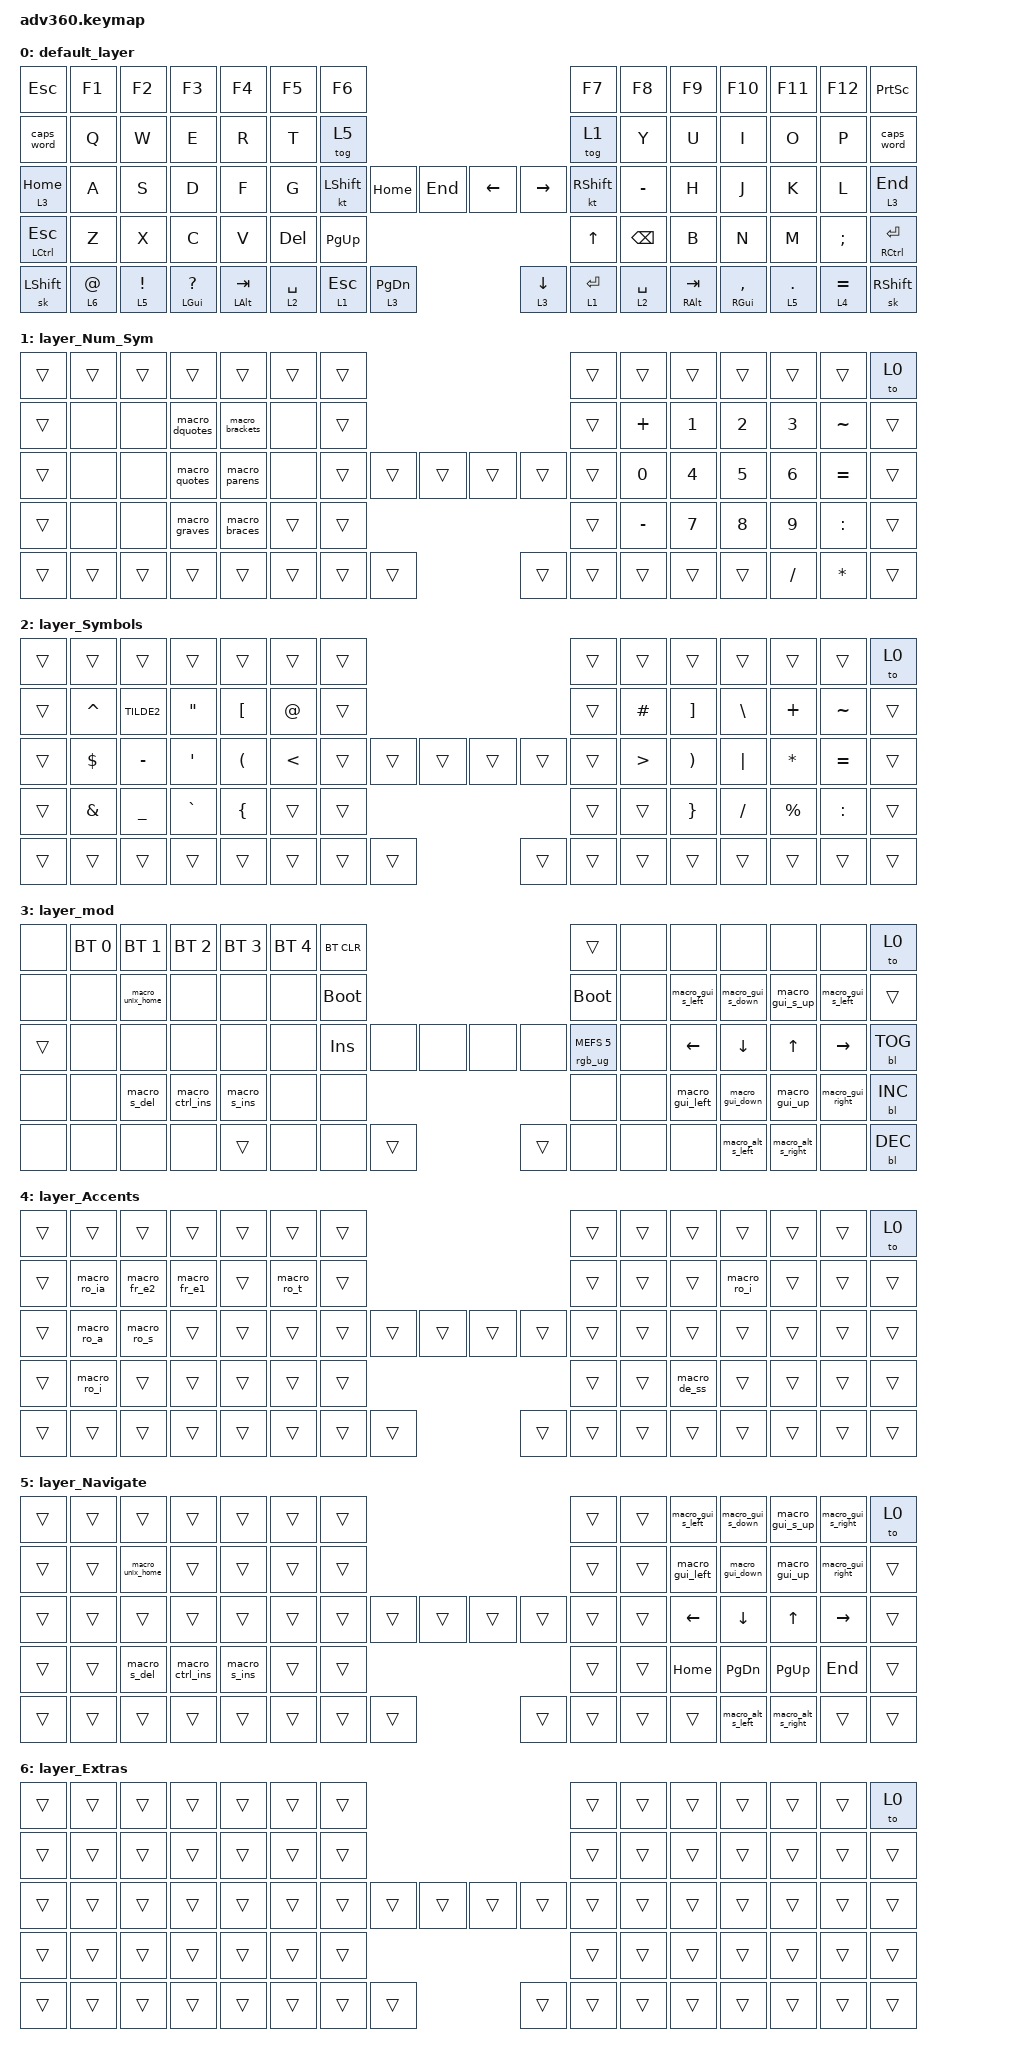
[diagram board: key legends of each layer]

/*
 * Copyright (c) 2020 The ZMK Contributors
 *
 * SPDX-License-Identifier: MIT
 */


/* THIS FILE WAS GENERATED!
 *
 * This file was generated automatically. You may or may not want to
 * edit it directly.
 */

#include <behaviors.dtsi>
#include <dt-bindings/zmk/keys.h>
#include <dt-bindings/zmk/keys.h>
#include <dt-bindings/zmk/bt.h>
#include <dt-bindings/zmk/rgb.h>
#include <dt-bindings/zmk/backlight.h>

/ {
  behaviors {
    #include "macros.dtsi"
    #include "version.dtsi"

    hm: homerow_mods {
        compatible = "zmk,behavior-hold-tap";
        label = "HOMEROW_MODS";
        #binding-cells = <2>;
        tapping-term-ms = <200>;
        quick_tap_ms = <175>;
        flavor = "tap-preferred";
        bindings = <&kp>, <&kp>;
    };
  };

    keymap {
        compatible = "zmk,keymap";


        default_layer {
            bindings = <
       &kp ESCAPE    &kp F1      &kp F2                 &kp F3            &kp F4      &kp F5                 &kp F6                                                                                 &kp F7         &kp F8        &kp F9              &kp F10    &kp F11        &kp F12   &kp PRINTSCREEN
       &caps_word     &kp Q       &kp W                  &kp E             &kp R       &kp T                 &tog 5                                                                                 &tog 1          &kp Y         &kp U                &kp I      &kp O          &kp P        &caps_word
       &lt 3 HOME     &kp A       &kp S                  &kp D             &kp F       &kp G             &kt LSHIFT      &kp HOME      &kp END                          &kp LEFT    &kp RIGHT    &kt RSHFT      &kp MINUS         &kp H                &kp J      &kp K          &kp L         &lt 3 END
 &mt LCTRL ESCAPE     &kp Z       &kp X                  &kp C             &kp V  &kp DELETE                                       &kp PAGE_UP                      &kp UP_ARROW                            &kp BACKSPACE         &kp B                &kp N      &kp M  &kp SEMICOLON  &mt RCTRL RETURN
   &sk LEFT_SHIFT  &lt 6 AT  &lt 5 EXCL  &mt LEFT_GUI QUESTION  &mt LEFT_ALT TAB                        &lt 2 SPACE  &lt 1 ESCAPE  &lt 3 PG_DN                  &lt 3 DOWN_ARROW  &lt 1 ENTER  &lt 2 SPACE                 &mt RALT TAB  &mt RIGHT_GUI COMMA  &lt 5 DOT    &lt 4 EQUAL   &sk RIGHT_SHIFT
            >;
        };

        layer_Num_Sym {
            bindings = <
 &trans  &trans  &trans          &trans           &trans  &trans            &trans                                                  &trans        &trans        &trans        &trans        &trans     &trans   &to 0
 &trans   &none   &none  &macro_dquotes  &macro_brackets   &none            &trans                                                  &trans      &kp PLUS  &kp NUMBER_1  &kp NUMBER_2  &kp NUMBER_3  &kp TILDE  &trans
 &trans   &none   &none   &macro_quotes    &macro_parens   &none            &trans  &trans  &trans                  &trans  &trans  &trans  &kp NUMBER_0  &kp NUMBER_4  &kp NUMBER_5  &kp NUMBER_6  &kp EQUAL  &trans
 &trans   &none   &none   &macro_graves    &macro_braces  &trans                            &trans                  &trans                     &kp MINUS  &kp NUMBER_7  &kp NUMBER_8  &kp NUMBER_9  &kp COLON  &trans
 &trans  &trans  &trans          &trans           &trans                    &trans  &trans  &trans                  &trans  &trans  &trans                      &trans        &trans     &kp SLASH   &kp STAR  &trans
            >;
        };

        layer_Symbols {
            bindings = <
 &trans         &trans          &trans             &trans                &trans         &trans            &trans                                                  &trans            &trans                 &trans         &trans       &trans     &trans   &to 0
 &trans      &kp CARET      &kp TILDE2  &kp DOUBLE_QUOTES      &kp LEFT_BRACKET         &kp AT            &trans                                                  &trans          &kp HASH      &kp RIGHT_BRACKET  &kp BACKSLASH     &kp PLUS  &kp TILDE  &trans
 &trans     &kp DOLLAR       &kp MINUS   &kp SINGLE_QUOTE  &kp LEFT_PARENTHESIS  &kp LESS_THAN            &trans  &trans  &trans                  &trans  &trans  &trans  &kp GREATER_THAN  &kp RIGHT_PARENTHESIS       &kp PIPE     &kp STAR  &kp EQUAL  &trans
 &trans  &kp AMPERSAND  &kp UNDERSCORE          &kp GRAVE        &kp LEFT_BRACE         &trans                            &trans                  &trans                            &trans        &kp RIGHT_BRACE      &kp SLASH  &kp PERCENT  &kp COLON  &trans
 &trans         &trans          &trans             &trans                &trans                           &trans  &trans  &trans                  &trans  &trans  &trans                                   &trans         &trans       &trans     &trans  &trans
            >;
        };

        layer_mod {
            bindings = <
  &none  &bt BT_SEL 0      &bt BT_SEL 1     &bt BT_SEL 2  &bt BT_SEL 3  &bt BT_SEL 4             &bt BT_CLR                                                                  &trans   &none              &none              &none               &none              &none       &to 0
  &none         &none  &macro_unix_home            &none         &none         &none            &bootloader                                                             &bootloader   &none  &macro_gui_s_left  &macro_gui_s_down     &macro_gui_s_up  &macro_gui_s_left      &trans
 &trans         &none             &none            &none         &none         &none                &kp INS   &none   &none                   &none   &none  &rgb_ug RGB_MEFS_CMD 5   &none     &kp LEFT_ARROW     &kp DOWN_ARROW        &kp UP_ARROW    &kp RIGHT_ARROW  &bl BL_TOG
  &none         &none      &macro_s_del  &macro_ctrl_ins  &macro_s_ins         &none                                  &none                   &none                                   &none    &macro_gui_left    &macro_gui_down       &macro_gui_up   &macro_gui_right  &bl BL_INC
  &none         &none             &none            &none        &trans                                &none   &none  &trans                  &trans   &none                   &none                      &none  &macro_alt_s_left  &macro_alt_s_right              &none  &bl BL_DEC
            >;
        };

        layer_Accents {
            bindings = <
 &trans        &trans        &trans        &trans  &trans       &trans            &trans                                                  &trans  &trans        &trans       &trans  &trans  &trans   &to 0
 &trans  &macro_ro_ia  &macro_fr_e2  &macro_fr_e1  &trans  &macro_ro_t            &trans                                                  &trans  &trans        &trans  &macro_ro_i  &trans  &trans  &trans
 &trans   &macro_ro_a   &macro_ro_s        &trans  &trans       &trans            &trans  &trans  &trans                  &trans  &trans  &trans  &trans        &trans       &trans  &trans  &trans  &trans
 &trans   &macro_ro_i        &trans        &trans  &trans       &trans                            &trans                  &trans                  &trans  &macro_de_ss       &trans  &trans  &trans  &trans
 &trans        &trans        &trans        &trans  &trans                         &trans  &trans  &trans                  &trans  &trans  &trans                &trans       &trans  &trans  &trans  &trans
            >;
        };

        layer_Navigate {
            bindings = <
 &trans  &trans            &trans           &trans        &trans  &trans            &trans                                                  &trans  &trans  &macro_gui_s_left  &macro_gui_s_down     &macro_gui_s_up  &macro_gui_s_right   &to 0
 &trans  &trans  &macro_unix_home           &trans        &trans  &trans            &trans                                                  &trans  &trans    &macro_gui_left    &macro_gui_down       &macro_gui_up    &macro_gui_right  &trans
 &trans  &trans            &trans           &trans        &trans  &trans            &trans  &trans  &trans                  &trans  &trans  &trans  &trans     &kp LEFT_ARROW     &kp DOWN_ARROW        &kp UP_ARROW     &kp RIGHT_ARROW  &trans
 &trans  &trans      &macro_s_del  &macro_ctrl_ins  &macro_s_ins  &trans                            &trans                  &trans                  &trans           &kp HOME      &kp PAGE_DOWN         &kp PAGE_UP             &kp END  &trans
 &trans  &trans            &trans           &trans        &trans                    &trans  &trans  &trans                  &trans  &trans  &trans                     &trans  &macro_alt_s_left  &macro_alt_s_right              &trans  &trans
            >;
        };

        layer_Extras {
            bindings = <
 &trans  &trans  &trans  &trans  &trans  &trans            &trans                                                  &trans  &trans  &trans  &trans  &trans  &trans   &to 0
 &trans  &trans  &trans  &trans  &trans  &trans            &trans                                                  &trans  &trans  &trans  &trans  &trans  &trans  &trans
 &trans  &trans  &trans  &trans  &trans  &trans            &trans  &trans  &trans                  &trans  &trans  &trans  &trans  &trans  &trans  &trans  &trans  &trans
 &trans  &trans  &trans  &trans  &trans  &trans                            &trans                  &trans                  &trans  &trans  &trans  &trans  &trans  &trans
 &trans  &trans  &trans  &trans  &trans                    &trans  &trans  &trans                  &trans  &trans  &trans          &trans  &trans  &trans  &trans  &trans
            >;
        };

    };
};
